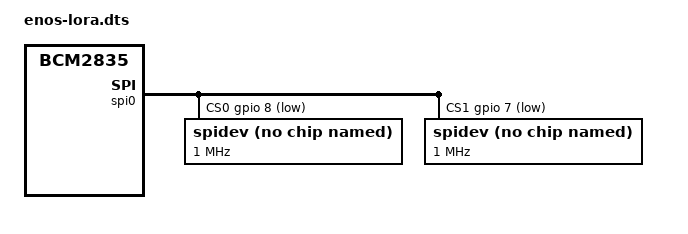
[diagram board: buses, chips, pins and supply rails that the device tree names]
/*
 * enos-lora.dts
 *
 * ENOS LoRa-only overlay for Raspberry Pi 4/5.
 * Explicitly binds SPI0 chip selects so module mapping is deterministic:
 *   CS0 -> GPIO8  -> /dev/spidev0.0 (LoRa RX module)
 *   CS1 -> GPIO7  -> /dev/spidev0.1 (LoRa TX module)
 */

/dts-v1/;
/plugin/;

/ {
    compatible = "brcm,bcm2712", "brcm,bcm2711", "brcm,bcm2835";

    fragment@0 {
        target = <&gpio>;
        __overlay__ {
            enos_spi0_pins: enos_spi0_pins {
                brcm,pins = <9 10 11>;
                brcm,function = <4>; /* ALT0 (SPI0) */
            };

            enos_lora_cs_pins: enos_lora_cs_pins {
                brcm,pins = <8 7>;
                brcm,function = <1>; /* GPIO output for software CS */
                brcm,pull = <2>;     /* Pull-up keeps CS idle high */
            };
        };
    };

    fragment@1 {
        target = <&spi0>;
        __overlay__ {
            status = "okay";
            #address-cells = <1>;
            #size-cells = <0>;
            num-cs = <2>;
            cs-gpios = <&gpio 8 1>, <&gpio 7 1>;
            pinctrl-names = "default";
            pinctrl-0 = <&enos_spi0_pins &enos_lora_cs_pins>;

            spidev@0 {
                compatible = "spidev";
                reg = <0>;
                spi-max-frequency = <1000000>;
                status = "okay";
            };

            spidev@1 {
                compatible = "spidev";
                reg = <1>;
                spi-max-frequency = <1000000>;
                status = "okay";
            };
        };
    };
};
